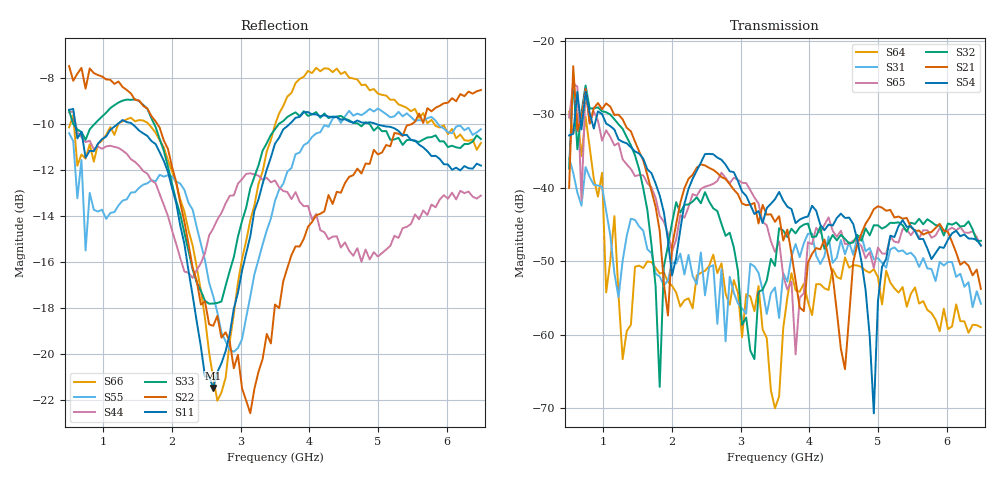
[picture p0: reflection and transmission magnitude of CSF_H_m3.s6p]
!Keysight Technologies,M9804A,MY58100912,A.14.10.03
!Date: Thursday, April 27, 2023 10:28:33
!Correction: S11(C  6-Port  )
!S12(C  6-Port  )
!S13(C  6-Port  )
!S14(C  6-Port  )
!S15(C  6-Port  )
!S16(C  6-Port  )
!S21(C  6-Port  )
!S22(C  6-Port  )
!S23(C  6-Port  )
!S24(C  6-Port  )
!S25(C  6-Port  )
!S26(C  6-Port  )
!S31(C  6-Port  )
!S32(C  6-Port  )
!S33(C  6-Port  )
!S34(C  6-Port  )
!S35(C  6-Port  )
!S36(C  6-Port  )
!S41(C  6-Port  )
!S42(C  6-Port  )
!S43(C  6-Port  )
!S44(C  6-Port  )
!S45(C  6-Port  )
!S46(C  6-Port  )
!S51(C  6-Port  )
!S52(C  6-Port  )
!S53(C  6-Port  )
!S54(C  6-Port  )
!S55(C  6-Port  )
!S56(C  6-Port  )
!S61(C  6-Port  )
!S62(C  6-Port  )
!S63(C  6-Port  )
!S64(C  6-Port  )
!S65(C  6-Port  )
!S66(C  6-Port  )
!S6P File: Measurement: :
# Hz S  RI  R 50
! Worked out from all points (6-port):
!   101 points, 500 MHz to 6.5 GHz, reference 50 ohm
!   strongest paths, dB at 500 MHz, 2 GHz, 3.5 GHz, 5 GHz, 6.5 GHz:
!     S54: -32.8, -51.9, -41.5, -55.4, -47.8
!     S21: -40.0, -47.9, -44.6, -42.5, -53.8
!     S32: -37.4, -44.8, -50.6, -45.1, -47.2
!     S65: -30.4, -48.7, -48.7, -48.1, -47.9
!     S31: -35.9, -50.1, -53.6, -49.6, -55.8
!     S64: -29.6, -53.3, -70.0, -52.2, -59.0
!   lowest |S11| = -21.5 dB at 2.6 GHz (marker M1), VSWR 1.18, Z = 42.5 + j2.13 ohm
!   |S11| at or under -10 dB: 590.9 MHz to 1.205 GHz (614.2 MHz wide, 68.4 % of centre); 1.421 GHz to 3.711 GHz (2.29 GHz wide, 89.2 % of centre); 4.978 GHz to end of sweep
